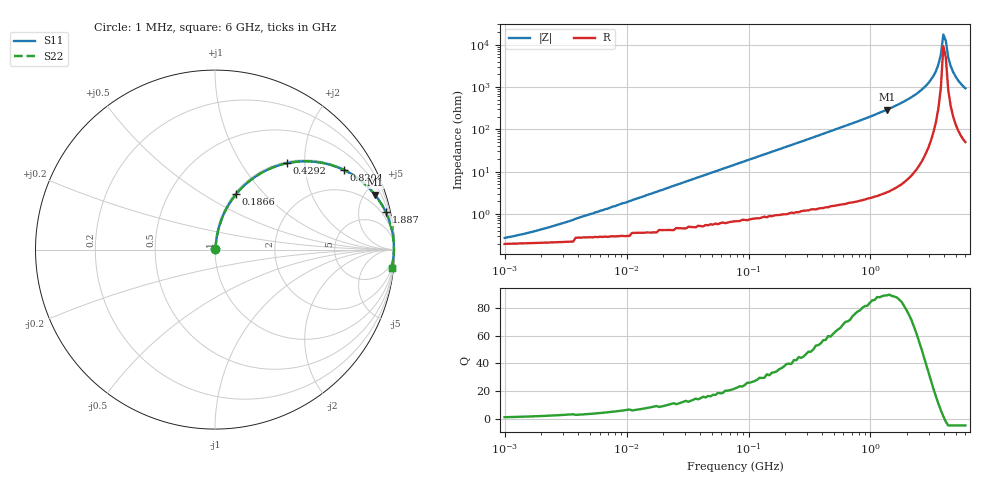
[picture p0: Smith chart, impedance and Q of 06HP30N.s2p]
# MHz S MA R 50
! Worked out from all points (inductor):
!   189 points, 1 MHz to 6 GHz, reference 50 ohm
!   read as one part in series: L = 30 nH near 3.653 MHz
!   highest Q = 89.1 at 1.365 GHz (marker M1), where L = 33.9 nH
!   self-resonance near 3.956 GHz
!   S11 on the Smith chart (normalised r, x): 1 MHz: 1.00, +0.00; 186.6 MHz: 1.02, +0.71; 429.2 MHz: 1.03, +1.64; 820.4 MHz: 1.04, +3.23; 1.887 GHz: 1.12, +9.11; 6 GHz: 2, -19
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1  0.002678 44.5  0.998 -0.1  0.998 -0.1  0.002678 44.5
4.396  0.008656 72.2  0.997 -0.5  0.997 -0.5  0.008656 72.2
18.454  0.035 81.6  0.995 -2.0  0.995 -2.0  0.035 81.6
77.46  0.144 79.1  0.983 -8.3  0.983 -8.3  0.144 79.1
186.599  0.33 69.2  0.935 -19.2  0.935 -19.2  0.33 69.2
340.538  0.538 56.3  0.832 -32.6  0.832 -32.6  0.538 56.3
429.188  0.628 50.1  0.767 -38.9  0.767 -38.9  0.628 50.1
820.351  0.845 31.6  0.524 -57.7  0.524 -57.7  0.845 31.6
1364.777  0.942 18.9  0.324 -70.4  0.324 -70.4  0.942 18.9
1429.415  0.948 17.9  0.308 -71.4  0.308 -71.4  0.948 17.9
1886.851  0.974 12.3  0.214 -77.0  0.214 -77.0  0.974 12.3
2608.635  0.991 6.7  0.117 -82.2  0.117 -82.2  0.991 6.7
2997.112  0.995 4.5  0.079 -83.8  0.079 -83.8  0.995 4.5
3287.73  0.996 3.1  0.054 -84.2  0.054 -84.2  0.996 3.1
3606.527  0.997 1.7  0.029 -83.0  0.029 -83.0  0.997 1.7
3777.337  0.997 1.0  0.017 -79.5  0.017 -79.5  0.997 1.0
3956.237  0.997 0.3  0.005721 -57.9  0.005721 -57.9  0.997 0.3
4143.61  0.997 -0.4  0.007952 65.9  0.007952 65.9  0.997 -0.4
4339.857  0.996 -1.1  0.02 79.0  0.02 79.0  0.996 -1.1
4545.398  0.996 -1.8  0.032 81.6  0.032 81.6  0.996 -1.8
5222.297  0.993 -3.9  0.069 82.3  0.069 82.3  0.993 -3.9
6000  0.989 -6.1  0.106 80.8  0.106 80.8  0.989 -6.1
